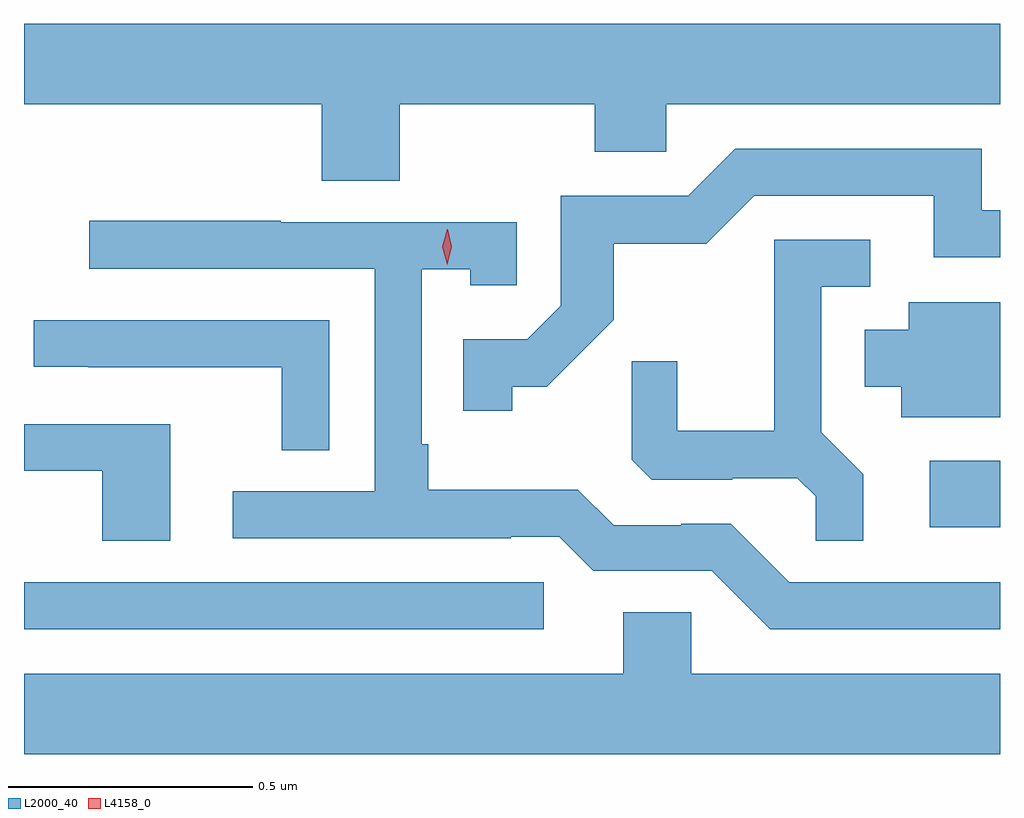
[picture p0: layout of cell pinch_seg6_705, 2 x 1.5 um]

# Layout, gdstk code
import gdstk
lib = gdstk.Library(unit=1e-6, precision=1e-09)
def R(c, l, rs):  # rectangles x0, y0, x1, y1
    for r in rs: c.add(gdstk.rectangle(r[:2], r[2:], *l))
def P(c, l, *ps):  # polygons
    for p in ps: c.add(gdstk.Polygon(p, *l))
L2000_40 = (2000, 40)
L4158_0 = (4158, 0)

pinch_seg6_705 = lib.new_cell('pinch_seg6_705')
R(pinch_seg6_705, L2000_40, [(449.905,938.268,450.97,938.364), (451.761,938.477,451.905,938.613)])
P(pinch_seg6_705, L2000_40, [(450.675,939.344),(451.075,939.344),(451.075,939.246),(451.221,939.246),(451.221,939.344),(451.905,939.344),(451.905,939.508),(449.905,939.508),(449.905,939.344),(450.515,939.344),(450.515,939.187),(450.675,939.187)],
  [(450.906,938.765),(450.976,938.765),(451.114,938.902),(451.114,939.058),(451.303,939.058),(451.401,939.156),(451.769,939.156),(451.769,939.03),(451.905,939.03),(451.905,939.126),(451.868,939.126),(451.868,939.252),(451.362,939.252),(451.266,939.156),(451.005,939.156),(451.005,938.931),(450.936,938.862),(450.805,938.862),(450.805,938.715),(450.906,938.715)],
  [(451.905,938.364),(451.473,938.364),(451.353,938.484),(451.252,938.484),(451.252,938.481),(451.113,938.481),(451.04,938.554),(450.733,938.554),(450.733,938.647),(450.72,938.647),(450.72,939.005),(450.819,939.005),(450.819,938.973),(450.915,938.973),(450.915,939.102),(450.431,939.102),(450.431,939.105),(450.039,939.105),(450.039,939.006),(450.624,939.006),(450.624,938.55),(450.333,938.55),(450.333,938.454),(450.902,938.454),(450.902,938.457),(451.002,938.457),(451.071,938.388),(451.314,938.388),(451.434,938.268),(451.905,938.268)],
  [(451.625,938.585),(451.539,938.671),(451.539,938.97),(451.639,938.97),(451.639,939.066),(451.442,939.066),(451.442,938.674),(451.244,938.674),(451.244,938.817),(451.15,938.817),(451.15,938.615),(451.191,938.574),(451.356,938.574),(451.356,938.577),(451.49,938.577),(451.527,938.54),(451.527,938.449),(451.625,938.449)],
  [(451.905,938.938),(451.718,938.938),(451.718,938.881),(451.628,938.881),(451.628,938.765),(451.703,938.765),(451.703,938.702),(451.905,938.702)],
  [(450.531,938.901),(449.925,938.901),(449.925,938.806),(450.037,938.806),(450.037,938.805),(450.433,938.805),(450.433,938.635),(450.531,938.635)],
  [(450.205,938.688),(449.905,938.688),(449.905,938.592),(450.065,938.592),(450.065,938.449),(450.205,938.449)],
  [(451.905,938.176),(451.272,938.176),(451.272,938.303),(451.133,938.303),(451.133,938.176),(449.905,938.176),(449.905,938.012),(451.905,938.012)])
P(pinch_seg6_705, L4158_0, [(450.772,939.015),(450.772,939.015),(450.762,939.051),(450.772,939.087),(450.772,939.087),(450.773,939.087),(450.782,939.051),(450.772,939.015)])

lib.write_gds('pinch_seg6_705.gds')
